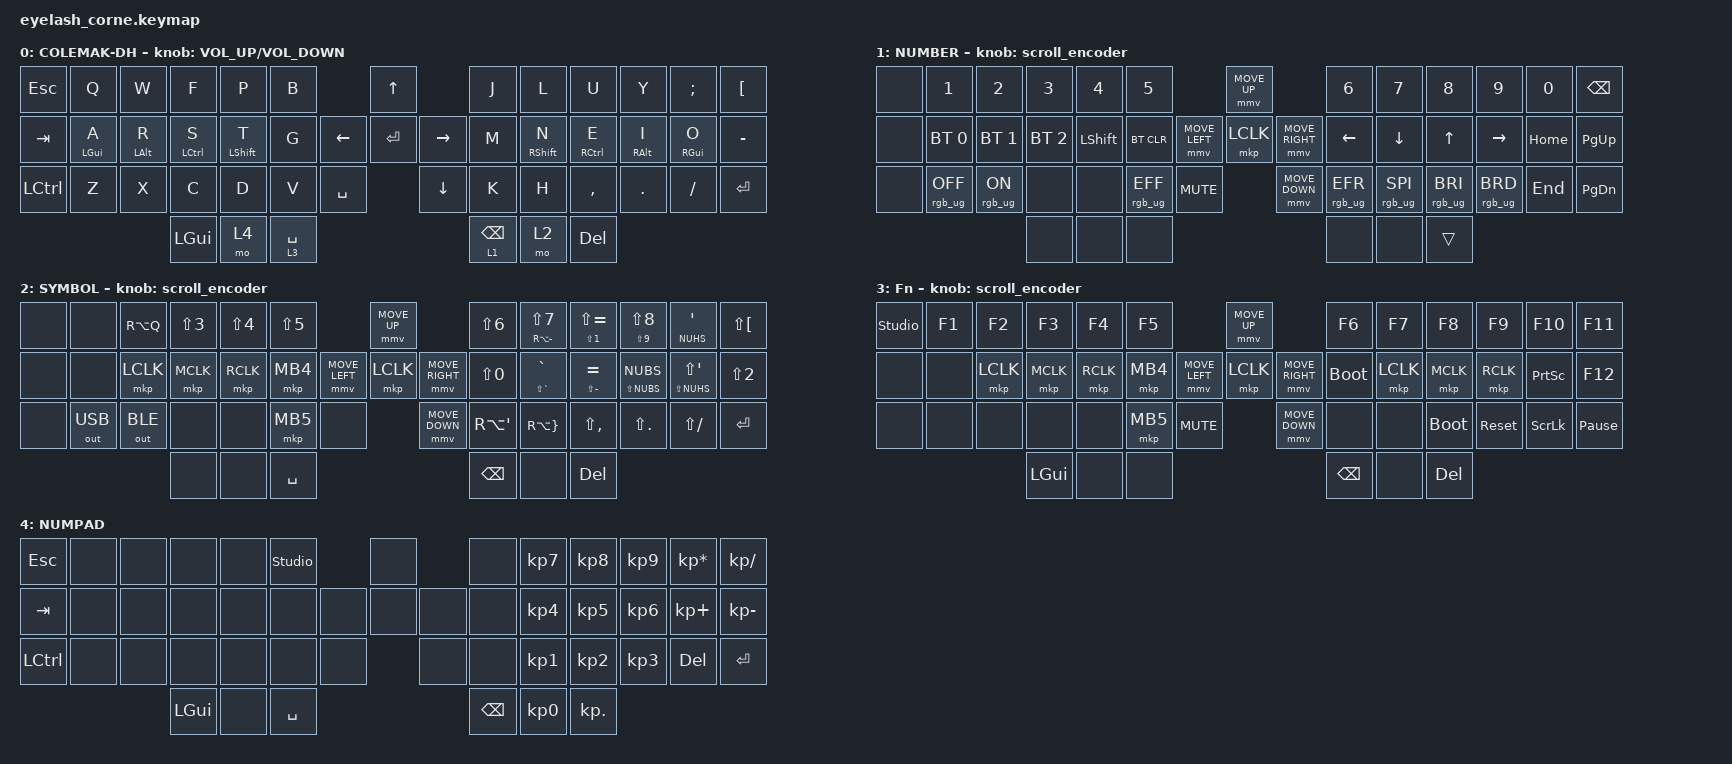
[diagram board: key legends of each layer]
#define ZMK_POINTING_DEFAULT_MOVE_VAL 1200  // 600
#define ZMK_POINTING_DEFAULT_SCRL_VAL 25   // 10

#include <dt-bindings/zmk/mouse.h>
#include <input/processors.dtsi>
#include <zephyr/dt-bindings/input/input-event-codes.h>
#include <behaviors/runtime-sensor-rotate.dtsi>
#include <behaviors.dtsi>
#include <dt-bindings/zmk/bt.h>
#include <dt-bindings/zmk/keys.h>
#include <dt-bindings/zmk/outputs.h>
#include <dt-bindings/zmk/pointing.h>
#include <dt-bindings/zmk/rgb.h>

&soft_off { hold-time-ms = <2000>; };

/*

   &mmv_input_listener {
       input-processors = <&zip_xy_scaler 2 1>;
   };

   &msc_input_listener {
       input-processors = <&zip_xy_scaler 2 1>;
   };

 */

/ {
    behaviors {
        td0: td0 {
            compatible = "zmk,behavior-tap-dance";
            display-name = "Shift/Caps Lock Tap Dance";
            #binding-cells = <0>;
            bindings = <&kp LEFT_SHIFT>, <&kp CAPS>;
        };

        hmr: homerow_mods_right {
            compatible = "zmk,behavior-hold-tap";
            label = "HOMEROW_MODS_RIGHT_HAND";
            bindings = <&kp>, <&kp>;

            #binding-cells = <2>;
            tapping-term-ms = <200>;
            hold-trigger-key-positions = <15 14 13 0 1 2 3 4 5 16 17 18 31 32 33 34 42 43 44 28 29 30>;
        };

        hml: homerow_mods_left {
            compatible = "zmk,behavior-hold-tap";
            label = "HOMEROW_MODS_LEFT_HAND";
            bindings = <&kp>, <&kp>;

            #binding-cells = <2>;
            tapping-term-ms = <200>;
            hold-trigger-key-positions = <7 8 9 10 11 12 22 23 24 25 26 27 36 37 38 39 40 41 45 46 47>;
        };
    };

    rgb_encoder: rgb_encoder {
        compatible = "zmk,behavior-sensor-rotate";
        #sensor-binding-cells = <0>;
        bindings = <&rgb_ug RGB_BRI>, <&rgb_ug RGB_BRD>;
    };

    scroll_encoder: scroll_encoder {
        compatible = "zmk,behavior-sensor-rotate";
        #sensor-binding-cells = <0>;
        bindings = <&msc SCRL_DOWN>, <&msc SCRL_UP>;

        tap-ms = <30>;
    };

    macros {
        rgblayer: rgblayer {
            compatible = "zmk,behavior-macro-two-param";
            #binding-cells = <2>;
            bindings =
                <&macro_param_2to2>,
                <&macro_tap>,
                <&rgb_ug RGB_COLOR_HSB_CMD MACRO_PLACEHOLDER &macro_param_1to1>,
                <&macro_press>,
                <&mo MACRO_PLACEHOLDER>,
                <&macro_pause_for_release>,
                <&macro_param_1to1>,
                <&macro_release>,
                <&mo MACRO_PLACEHOLDER>,
                <&macro_tap>,
                <&rgb_ug RGB_OFF>;

            label = "RGBLAYER";
        };

        rgblayer2: rgblayer2 {
            compatible = "zmk,behavior-macro-two-param";
            #binding-cells = <2>;
            bindings =
                <&macro_param_2to2>,
                <&macro_tap>,
                <&rgb_ug RGB_COLOR_HSB_CMD MACRO_PLACEHOLDER &macro_param_1to1>,
                <&macro_press>,
                <&mo MACRO_PLACEHOLDER>,
                <&macro_pause_for_release>,
                <&macro_param_1to1>,
                <&macro_release>,
                <&mo MACRO_PLACEHOLDER>,
                <&macro_tap>,
                <&rgb_ug RGB_OFF>;

            label = "RGBLAYER2";
        };
    };

    keymap {
        compatible = "zmk,keymap";

        default_layer {
            display-name = "COLEMAK-DH";
            bindings = <
&kp ESC    &kp Q        &kp W        &kp F                &kp P              &kp B                               &kp UP                &kp J            &kp L         &kp U         &kp Y        &kp SEMICOLON  &kp LBKT
&kp TAB    &hml LGUI A  &hml LALT R  &hml LEFT_CONTROL S  &hml LEFT_SHIFT T  &kp G                     &kp LEFT  &kp ENTER  &kp RIGHT  &kp M            &hmr RSHFT N  &hmr RCTRL E  &hmr RALT I  &hmr RGUI O    &kp MINUS
&kp LCTRL  &kp Z        &kp X        &kp C                &kp D              &kp V        &kp SPACE              &kp DOWN              &kp K            &kp H         &kp COMMA     &kp DOT      &kp FSLH       &kp ENTER
                                     &kp LGUI             &mo 4              &lt 3 SPACE                                               &lt 1 BACKSPACE  &mo 2         &kp DELETE
            >;

            sensor-bindings = <&inc_dec_kp C_VOLUME_UP C_VOLUME_DOWN>;
        };

        lower_layer {
            display-name = "NUMBER";
            bindings = <
&none &kp N1           &kp N2          &kp N3        &kp N4          &kp N5                                         &mmv MOVE_UP                     &kp N6           &kp N7           &kp N8           &kp N9           &kp N0    &kp BSPC
&none &bt BT_SEL 0     &bt BT_SEL 1    &bt BT_SEL 2  &kp LEFT_SHIFT  &bt BT_CLR                     &mmv MOVE_LEFT  &mkp LCLK       &mmv MOVE_RIGHT  &kp LEFT         &kp DOWN         &kp UP           &kp RIGHT        &kp HOME  &kp PG_UP
&none &rgb_ug RGB_OFF  &rgb_ug RGB_ON  &none       &none         &rgb_ug RGB_EFF  &kp C_MUTE                    &mmv MOVE_DOWN                   &rgb_ug RGB_EFR  &rgb_ug RGB_SPI  &rgb_ug RGB_BRI  &rgb_ug RGB_BRD  &kp END   &kp PG_DN
                                         &none       &none         &none                                                                         &none          &none          &trans
            >;

            sensor-bindings = <&scroll_encoder>;
        };

        raise_layer {
            display-name = "SYMBOL";
            bindings = <
&none &none       &kp RA(Q)     &kp LS(NUMBER_3)  &kp LS(NUMBER_4)  &kp LS(N5)                            &mmv MOVE_UP                     &kp LS(NUMBER_6)  &hml RA(MINUS) LS(N7)  &hml LS(NUMBER_1) LS(EQUAL)  &hml LS(NUMBER_9) LS(NUMBER_8)  &hml NUHS SQT          &kp LS(LBKT)
&none &none       &mkp LCLK     &mkp MCLK         &mkp RCLK         &mkp MB4              &mmv MOVE_LEFT  &mkp LCLK       &mmv MOVE_RIGHT  &kp LS(N0)        &hml LS(GRAVE) GRAVE   &hml LS(MINUS) EQUAL         &hml LS(NUBS) NUBS              &hml LS(NUHS) LS(SQT)  &kp LS(NUMBER_2)
&none &out OUT_USB  &out OUT_BLE  &none             &none             &mkp MB5    &none                   &mmv MOVE_DOWN                   &kp RA(SQT)       &kp RA(RIGHT_BRACE)    &kp LS(COMMA)                &kp LS(DOT)                     &kp LS(SLASH)          &kp ENTER
                                    &none           &none           &kp SPACE                                                              &kp BACKSPACE     &none                &kp DELETE
            >;

            sensor-bindings = <&scroll_encoder>;
        };

        layer_3 {
            display-name = "Fn";
            bindings = <
&studio_unlock  &kp F1  &kp F2     &kp F3        &kp F4     &kp F5                                  &mmv MOVE_UP                     &kp F6         &kp F7     &kp F8       &kp F9      &kp F10          &kp F11
&none         &none &mkp LCLK  &mkp MCLK     &mkp RCLK  &mkp MB4                &mmv MOVE_LEFT  &mkp LCLK       &mmv MOVE_RIGHT  &bootloader    &mkp LCLK  &mkp MCLK    &mkp RCLK   &kp PRINTSCREEN  &kp F12
&none         &none &none    &none       &none    &mkp MB5  &kp C_MUTE                    &mmv MOVE_DOWN                   &none        &none    &bootloader  &sys_reset  &kp SCROLLLOCK   &kp PAUSE_BREAK
                                   &kp LEFT_GUI  &none    &none                                                                  &kp BACKSPACE  &none    &kp DELETE
            >;

            sensor-bindings = <&scroll_encoder>;
        };

        np_layer {
            bindings = <
&kp ESCAPE  &none &none &none       &none &studio_unlock                    &none         &none        &kp KP_NUMBER_7  &kp KP_NUMBER_8  &kp KP_NUMBER_9  &kp KP_ASTERISK  &kp KP_DIVIDE
&kp TAB     &none &none &none       &none &none                   &none &none &none &none        &kp KP_NUMBER_4  &kp KP_NUMBER_5  &kp KP_NUMBER_6  &kp KP_PLUS      &kp KP_SUBTRACT
&kp LCTRL   &none &none &none       &none &none         &none           &none         &none        &kp KP_NUMBER_1  &kp KP_NUMBER_2  &kp KP_NUMBER_3  &kp DELETE       &kp ENTER
                            &kp LEFT_GUI  &none &kp SPACE                                         &kp BACKSPACE  &kp KP_NUMBER_0  &kp KP_DOT
            >;

            label = "NUMPAD";
        };
    };
};
